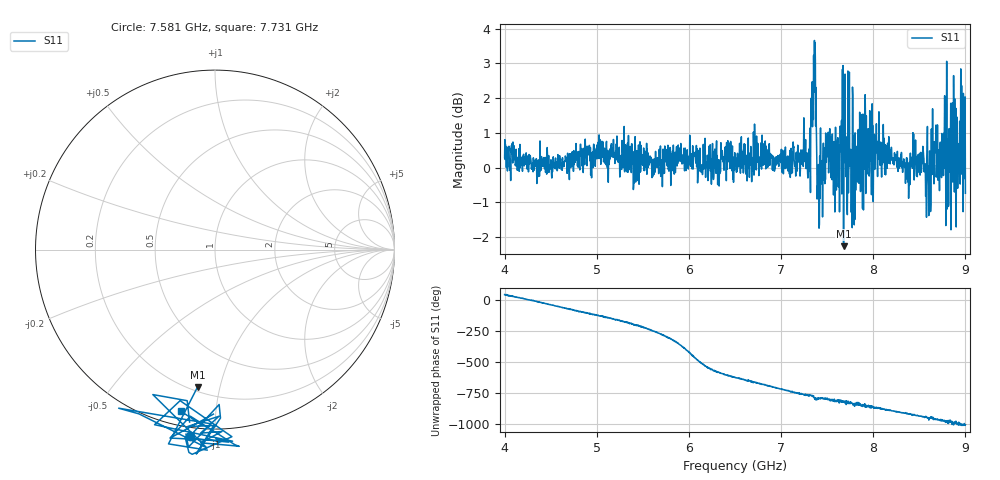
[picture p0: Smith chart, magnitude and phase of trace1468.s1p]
! Created with skrf 1.8.0 (http://scikit-rf.org).
# Hz S RI R 50.0
!freq ReS11 ImS11
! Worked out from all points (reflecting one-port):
!   1601 points, 4 GHz to 9 GHz, reference 50 ohm
!   lowest |S11| = -2.3 dB at 7.678 GHz (marker M1), VSWR 7.73, Z = 11.3 - j42.8 ohm
!   phase of S11 starts at 47 deg and turns -1050 deg over the sweep
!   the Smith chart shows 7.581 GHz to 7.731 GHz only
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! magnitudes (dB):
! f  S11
! 4 GHz  0.3
! 4.625 GHz  -0.1
! 5.012 GHz  0.3
! 5.25 GHz  -0.3
! 5.875 GHz  0.3
! 6.5 GHz  0.4
! 6.725 GHz  0.3
! 7.125 GHz  0.2
! 7.294 GHz  0.0
! 7.353 GHz  3.2
! 7.412 GHz  -1.7
! 7.509 GHz  0.4
! 7.575 GHz  0.8
! 7.678 GHz  -2.3
! 7.703 GHz  -0.3
! 7.75 GHz  0.3
! 7.806 GHz  0.4
! 7.856 GHz  0.5
! 8.038 GHz  0.4
! 8.375 GHz  -0.3
! 8.438 GHz  1.0
! 8.603 GHz  -1.4
! 8.656 GHz  0.2
! 8.828 GHz  0.6
! 8.872 GHz  2.6
! 8.919 GHz  -0.3
! 8.972 GHz  0.1
! 9 GHz  -0.7
